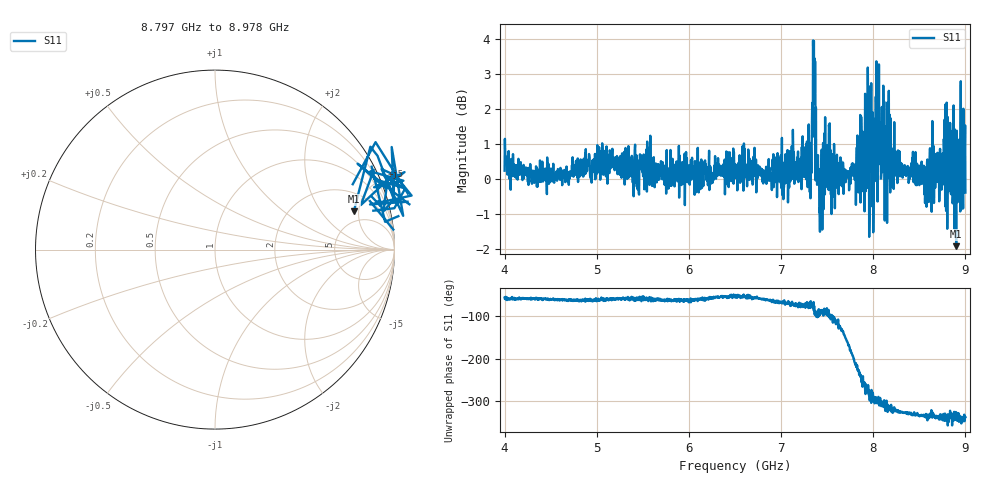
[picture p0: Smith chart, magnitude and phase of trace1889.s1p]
! Created with skrf 1.8.0 (http://scikit-rf.org).
# Hz S RI R 50.0
!freq ReS11 ImS11
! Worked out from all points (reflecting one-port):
!   1601 points, 4 GHz to 9 GHz, reference 50 ohm
!   lowest |S11| = -1.9 dB at 8.9 GHz (marker M1), VSWR 9.12, Z = 184 + j220 ohm
!   phase of S11 starts at -56 deg and turns -283 deg over the sweep
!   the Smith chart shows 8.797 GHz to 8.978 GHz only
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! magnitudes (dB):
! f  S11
! 4 GHz  0.2
! 4.625 GHz  -0.2
! 4.897 GHz  0.5
! 5.25 GHz  0.1
! 5.875 GHz  -0.1
! 6.5 GHz  0.4
! 7.038 GHz  -0.1
! 7.125 GHz  0.0
! 7.306 GHz  0.5
! 7.356 GHz  3.9
! 7.372 GHz  2.6
! 7.4 GHz  0.7
! 7.428 GHz  -0.2
! 7.503 GHz  0.9
! 7.609 GHz  0.1
! 7.75 GHz  0.1
! 7.909 GHz  1.2
! 7.928 GHz  0.6
! 7.962 GHz  2.6
! 7.981 GHz  0.3
! 8.05 GHz  1.7
! 8.128 GHz  0.8
! 8.375 GHz  0.2
! 8.578 GHz  -0.8
! 8.772 GHz  0.5
! 8.9 GHz  -1.9
! 8.972 GHz  0.2
! 9 GHz  -0.4
